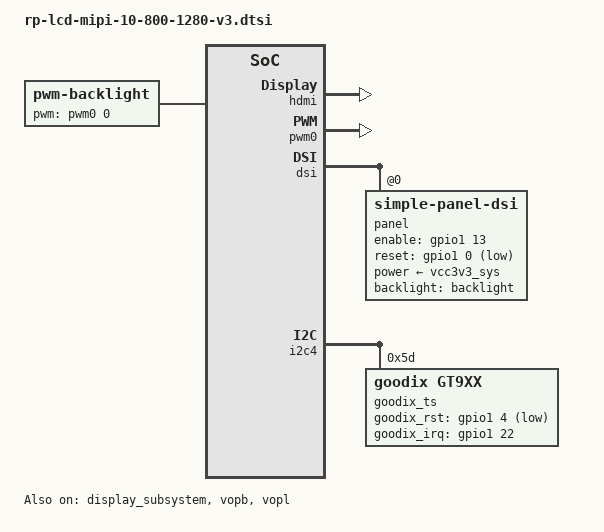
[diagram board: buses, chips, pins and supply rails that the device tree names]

/ {
	
	backlight: backlight {
		status = "okay";
		compatible = "pwm-backlight";
		pwms = <&pwm0 0 25000 0>;
		brightness-levels = <
			  0   1   2   3   4   5   6   7
			  8   9  10  11  12  13  14  15
			 16  17  18  19  20  21  22  23
			 24  25  26  27  28  29  30  31
			 32  33  34  35  36  37  38  39
			 40  41  42  43  44  45  46  47
			 48  49  50  51  52  53  54  55
			 56  57  58  59  60  61  62  63
			 64  65  66  67  68  69  70  71
			 72  73  74  75  76  77  78  79
			 80  81  82  83  84  85  86  87
			 88  89  90  91  92  93  94  95
			 96  97  98  99 100 101 102 103
			104 105 106 107 108 109 110 111
			112 113 114 115 116 117 118 119
			120 121 122 123 124 125 126 127
			128 129 130 131 132 133 134 135
			136 137 138 139 140 141 142 143
			144 145 146 147 148 149 150 151
			152 153 154 155 156 157 158 159
			160 161 162 163 164 165 166 167
			168 169 170 171 172 173 174 175
			176 177 178 179 180 181 182 183
			184 185 186 187 188 189 190 191
			192 193 194 195 196 197 198 199
			200 201 202 203 204 205 206 207
			208 209 210 211 212 213 214 215
			216 217 218 219 220 221 222 223
			224 225 226 227 228 229 230 231
			232 233 234 235 236 237 238 239
			240 241 242 243 244 245 246 247
			248 249 250 251 252 253 254 255>;
		default-brightness-level = <255>;
	};


};


&hdmi {
	#address-cells = <1>;
	#size-cells = <0>;
	#sound-dai-cells = <0>;
	ddc-i2c-scl-high-time-ns = <9625>;
	ddc-i2c-scl-low-time-ns = <10000>;
	status = "okay";
};

&pwm0 {
	status = "okay";
};


&display_subsystem {
	status = "okay";

	ports = <&vopb_out>, <&vopl_out>;
	logo-memory-region = <&drm_logo>;

	route {
		route_hdmi: route-hdmi {
			status = "okay";
			logo,uboot = "logo.bmp";
			logo,kernel = "logo_kernel.bmp";
			logo,mode = "center";
			charge_logo,mode = "center";
			connect = <&vopl_out_hdmi>;
		};

		route_dsi: route-dsi {

			status = "okay";
			//status = "disabled";
			logo,uboot = "logo.bmp";
			logo,kernel = "logo_kernel.bmp";
			logo,mode = "center";
			charge_logo,mode = "center";
			connect = <&vopb_out_dsi>;
		};

		route_dsi1: route-dsi1 {
			status = "disabled";
			logo,uboot = "logo.bmp";
			logo,kernel = "logo_kernel.bmp";
			logo,mode = "fullscreen";
			charge_logo,mode = "center";
			connect = <&vopl_out_dsi1>;
		};

		route_edp: route-edp {
			status = "disabled";
			logo,uboot = "logo.bmp";
			logo,kernel = "logo_kernel.bmp";
			logo,mode = "fullscreen";
			charge_logo,mode = "center";
			connect = <&vopb_out_edp>;
		};
	};
};

&dsi {
        status = "okay";
        //rockchip,lane-rate = <480>;
	
        panel {
            compatible ="simple-panel-dsi"; 
            status = "okay"; 
            reg = <0>; 
            power-supply = <&vcc3v3_sys>; 
            backlight = <&backlight>; 
            cmd_later_reset = <0>; 
            enable-gpios = <&gpio1 13 GPIO_ACTIVE_HIGH>; 
            reset-gpios  = <&gpio1 0 GPIO_ACTIVE_LOW>; 
            dsi,flags = <(MIPI_DSI_MODE_VIDEO | MIPI_DSI_MODE_VIDEO_BURST | MIPI_DSI_MODE_LPM|MIPI_DSI_MODE_EOT_PACKET)>; 
            dsi,format = <MIPI_DSI_FMT_RGB888>; 
            //bus-format = <MEDIA_BUS_FMT_RGB666_1X24>;
                    dsi,lanes = <4>;
                    reset-delay-ms = <20>;
            init-delay-ms = <20>;
            enable-delay-ms = <120>;
            prepare-delay-ms = <120>;

            //for king/rp/rd board cannot enable boot logo
            pinctrl-names = "default";
            pinctrl-0 = <&pwr_en>;
            
            panel-init-sequence = [
                05 78 01 11	//sleep out
                05 20 01 29	//display on
            ];

            panel-exit-sequence = [
                    05 00 01 28
                    05 78 01 10
            ];

            display-timings {
                    native-mode = <&timing0>;
                    timing0: timing0 {
                        clock-frequency = <82000000>;
                            hactive = <800>;
                            vactive = <1280>;
                            hback-porch = <100>;
                            hfront-porch = <100>;
                            vback-porch = <30>;
                            vfront-porch = <20>;
                            hsync-len = <30>;
                            vsync-len = <2>;
                            hsync-active = <0>;
                            vsync-active = <0>;
                            de-active = <0>;
                            pixelclk-active = <0>;
                    };
                    timing1: timing1 {
                            clock-frequency = <148000000>;
                            hactive = <1920>;
                            vactive = <1080>;
                            hback-porch = <100>;
                            hfront-porch = <160>;
                            vback-porch = <25>;
                            vfront-porch = <10>;
                            hsync-len = <20>;
                            vsync-len = <10>;
                            hsync-active = <0>;
                            vsync-active = <0>;
                            de-active = <0>;
                            pixelclk-active = <1>;
                    };
                };
        };
};

&vopb {
        assigned-clocks = <&cru DCLK_VOP0_DIV>;
        assigned-clock-parents = <&cru PLL_CPLL>;
        //assigned-clock-parents = <&cru PLL_VPLL>;
        status = "okay";
};

&vopb_mmu {
        status = "okay";
};

&vopl {
        assigned-clocks = <&cru DCLK_VOP1_DIV>;
        assigned-clock-parents = <&cru PLL_VPLL>;
        //assigned-clock-parents = <&cru PLL_CPLL>;
        status = "okay";
};

&vopl_mmu {
        status = "okay";
};

&dsi_in_vopl { 
        status = "disabled"; 
}; 
 
&hdmi_in_vopb { 
        status = "disabled"; 
}; 
 
&edp_in_vopb { 
        status = "disabled"; 
}; 
&edp_in_vopl { 
        status = "disabled"; 
}; 

&dsi1_in_vopb { 
        status = "disabled"; 
}; 
&dsi1_in_vopl { 
        status = "disabled"; 
}; 

&i2c4 {
        status = "okay";
        
        goodix_ts@5d {
            compatible = "goodix,gt9xx";
            reg = <0x5d>;
                
            gtp_resolution_x = <800>;
            gtp_resolution_y = <1280>;
            gtp_int_tarigger = <1>;
            gtp_change_x2y = <0>;
            gtp_overturn_x = <0>;
            gtp_overturn_y = <0>;
            gtp_send_cfg = <1>;
            gtp_touch_wakeup = <1>;
            
            goodix_rst_gpio = <&gpio1 4 GPIO_ACTIVE_LOW>;
            goodix_irq_gpio = <&gpio1 22 IRQ_TYPE_EDGE_RISING>;
        
            goodix,cfg-group2 = [
                    49 20 03 00 05 0A 35 00 01 06 23 08 
                    37 2D 03 05 00 00 00 00 00 00 04 17 
                    19 1D 14 90 30 AA 53 55 0C 08 00 00 
                    00 01 03 1C 00 00 00 00 00 00 00 00 
                    00 00 00 3C 78 94 D0 42 00 08 00 04 
                    8E 40 00 85 4A 00 7F 55 00 7B 61 00 
                    7A 70 00 7B 00 00 00 00 00 00 00 00 
                    00 00 00 00 00 00 00 00 00 00 00 00 
                    00 00 00 00 00 00 00 00 00 00 00 00 
                    00 00 00 00 19 18 17 16 15 14 11 10 
                    0F 0E 0D 0C 09 08 07 06 05 04 01 00 
                    FF FF FF FF FF FF FF FF FF FF 00 02 
                    04 06 07 08 0A 0C 0D 0E 0F 10 11 12 
                    13 14 2A 29 28 27 26 25 24 23 22 21 
                    20 1F 1E 1C 1B 19 FF FF FF FF FF FF 
                    FF FF FF FF 24 01
            ];
	};
};

&pinctrl{
        pwr_5v {
                        pwr_en: pwr-en {
                                rockchip,pins = //<1 13 RK_FUNC_GPIO &pcfg_pull_up>,
                                                <4 30 RK_FUNC_GPIO &pcfg_pull_up>;
                        };
        };
};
